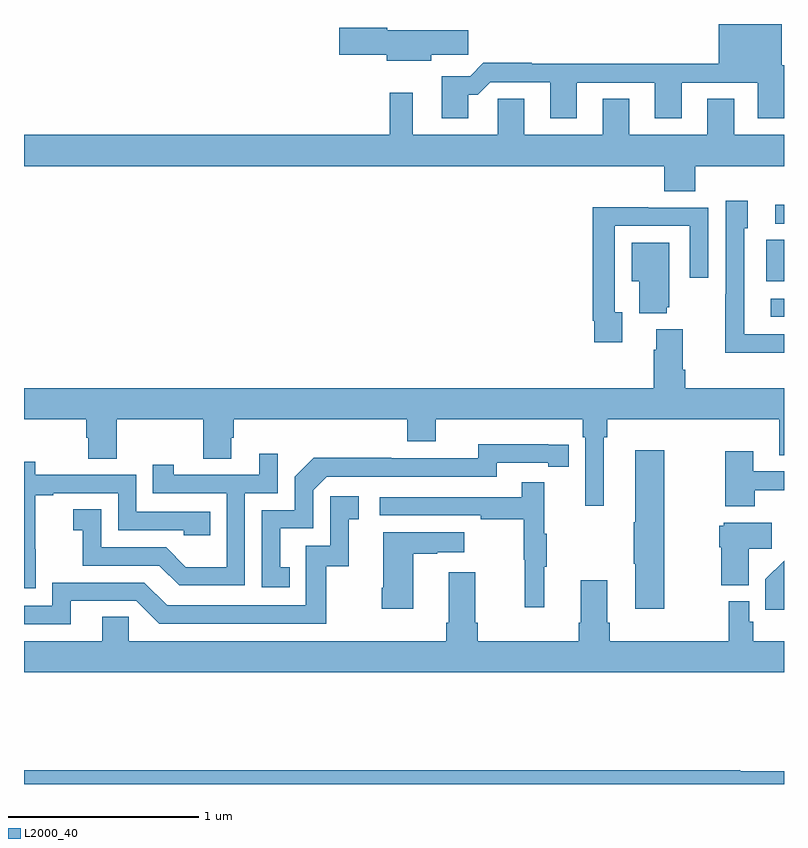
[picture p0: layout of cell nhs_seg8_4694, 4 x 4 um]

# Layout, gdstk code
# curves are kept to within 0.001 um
import gdstk
lib = gdstk.Library(unit=1e-6, precision=1e-09)
def R(c, l, rs):  # rectangles x0, y0, x1, y1
    for r in rs: c.add(gdstk.rectangle(r[:2], r[2:], *l))
def P(c, l, *ps):  # polygons
    for p in ps: c.add(gdstk.Polygon(p, *l))
L2000_40 = (2000, 40)

nhs_seg8_4694 = lib.new_cell('nhs_seg8_4694')
R(nhs_seg8_4694, L2000_40, [(398.931,1130.358,399,1130.454), (398.906,1130.546,399,1130.765), (398.955,1130.85,399,1130.948)])
P(nhs_seg8_4694, L2000_40, [(397.339,1131.527),(397.388,1131.527),(397.455,1131.594),(397.769,1131.594),(397.769,1131.405),(397.909,1131.405),(397.909,1131.591),(398.321,1131.591),(398.321,1131.405),(398.461,1131.405),(398.461,1131.591),(398.861,1131.591),(398.861,1131.405),(399,1131.405),(399,1131.684),(398.989,1131.684),(398.989,1131.9),(398.657,1131.9),(398.657,1131.692),(397.673,1131.692),(397.673,1131.695),(397.418,1131.695),(397.348,1131.625),(397.199,1131.625),(397.199,1131.405),(397.339,1131.405)],
  [(397.144,1131.739),(397.339,1131.739),(397.339,1131.868),(396.912,1131.868),(396.912,1131.881),(396.66,1131.881),(396.66,1131.739),(396.908,1131.739),(396.908,1131.707),(397.144,1131.707)],
  [(398.534,1131.152),(399,1131.152),(399,1131.316),(398.737,1131.316),(398.737,1131.506),(398.597,1131.506),(398.597,1131.316),(398.185,1131.316),(398.185,1131.506),(398.045,1131.506),(398.045,1131.316),(397.633,1131.316),(397.633,1131.506),(397.494,1131.506),(397.494,1131.316),(397.045,1131.316),(397.045,1131.538),(396.924,1131.538),(396.924,1131.316),(395,1131.316),(395,1131.152),(398.369,1131.152),(398.369,1131.019),(398.534,1131.019)],
  [(399,1130.268),(398.79,1130.268),(398.79,1130.826),(398.809,1130.826),(398.809,1130.971),(398.694,1130.971),(398.694,1130.477),(398.692,1130.477),(398.692,1130.171),(399,1130.171)],
  [(398.149,1130.382),(398.109,1130.382),(398.109,1130.838),(398.505,1130.838),(398.505,1130.565),(398.601,1130.565),(398.601,1130.934),(398.285,1130.934),(398.285,1130.936),(397.993,1130.936),(397.993,1130.338),(398.001,1130.338),(398.001,1130.226),(398.149,1130.226)],
  [(398.384,1130.409),(398.395,1130.409),(398.395,1130.749),(398.198,1130.749),(398.198,1130.546),(398.237,1130.546),(398.237,1130.378),(398.384,1130.378)],
  [(395,1129.82),(395.327,1129.82),(395.327,1129.722),(395.339,1129.722),(395.339,1129.612),(395.487,1129.612),(395.487,1129.82),(395.944,1129.82),(395.944,1129.612),(396.091,1129.612),(396.091,1129.722),(396.104,1129.722),(396.104,1129.82),(397.016,1129.82),(397.016,1129.703),(397.168,1129.703),(397.168,1129.82),(397.94,1129.82),(397.94,1129.724),(397.953,1129.724),(397.953,1129.365),(398.05,1129.365),(398.05,1129.724),(398.069,1129.724),(398.069,1129.82),(398.975,1129.82),(398.975,1129.63),(399,1129.63),(399,1129.984),(398.48,1129.984),(398.48,1130.08),(398.467,1130.08),(398.467,1130.293),(398.327,1130.293),(398.327,1130.186),(398.315,1130.186),(398.315,1129.984),(395,1129.984)],
  [(396.398,1129.041),(396.349,1129.041),(396.349,1129.245),(396.522,1129.245),(396.522,1129.446),(396.594,1129.518),(397.488,1129.518),(397.488,1129.59),(397.76,1129.59),(397.76,1129.57),(397.868,1129.57),(397.868,1129.686),(397.392,1129.687),(397.392,1129.614),(396.932,1129.614),(396.932,1129.616),(396.524,1129.616),(396.426,1129.518),(396.426,1129.341),(396.252,1129.341),(396.252,1128.936),(396.398,1128.936)],
  [(398.37,1129.657),(398.216,1129.657),(398.216,1129.277),(398.209,1129.277),(398.209,1129.06),(398.216,1129.06),(398.216,1128.822),(398.37,1128.822)],
  [(398.847,1129.446),(399,1129.446),(399,1129.545),(398.839,1129.545),(398.839,1129.651),(398.692,1129.651),(398.692,1129.361),(398.847,1129.361)],
  [(396.162,1129.431),(396.336,1129.431),(396.336,1129.639),(396.239,1129.639),(396.239,1129.527),(395.788,1129.527),(395.788,1129.579),(395.677,1129.579),(395.677,1129.431),(396.066,1129.431),(396.066,1129.042),(395.852,1129.042),(395.748,1129.146),(395.406,1129.146),(395.406,1129.345),(395.259,1129.345),(395.259,1129.235),(395.308,1129.235),(395.308,1129.05),(395.711,1129.05),(395.816,1128.945),(396.162,1128.945)],
  [(395.061,1129.135),(395.06,1129.135),(395.06,1129.419),(395.155,1129.419),(395.155,1129.431),(395.496,1129.431),(395.496,1129.236),(395.841,1129.236),(395.841,1129.209),(395.981,1129.209),(395.981,1129.332),(395.592,1129.332),(395.592,1129.527),(395.058,1129.527),(395.058,1129.596),(395,1129.596),(395,1128.929),(395.061,1128.929)],
  [(397.739,1129.043),(397.75,1129.043),(397.75,1129.217),(397.739,1129.217),(397.739,1129.489),(397.621,1129.489),(397.621,1129.41),(396.873,1129.41),(396.873,1129.314),(397.405,1129.314),(397.405,1129.294),(397.629,1129.294),(397.629,1129.08),(397.636,1129.08),(397.636,1128.831),(397.739,1128.831)],
  [(395.245,1128.864),(395.592,1128.864),(395.712,1128.744),(396.592,1128.744),(396.592,1129.047),(396.71,1129.047),(396.71,1129.293),(396.763,1129.293),(396.763,1129.414),(396.612,1129.414),(396.612,1129.155),(396.483,1129.155),(396.483,1128.84),(395.754,1128.84),(395.634,1128.96),(395.148,1128.96),(395.148,1128.837),(395,1128.837),(395,1128.741),(395.245,1128.741)],
  [(398.815,1129.138),(398.936,1129.138),(398.936,1129.276),(398.682,1129.276),(398.682,1129.26),(398.659,1129.26),(398.659,1129.146),(398.671,1129.146),(398.671,1128.947),(398.815,1128.947)],
  [(397.048,1129.111),(397.175,1129.111),(397.175,1129.121),(397.318,1129.121),(397.318,1129.225),(396.89,1129.225),(396.89,1128.934),(396.883,1128.934),(396.883,1128.822),(397.048,1128.822)],
  [(399,1129.076),(398.902,1128.978),(398.902,1128.816),(399,1128.816)],
  [(399,1128.652),(398.837,1128.652),(398.837,1128.753),(398.817,1128.753),(398.817,1128.862),(398.709,1128.862),(398.709,1128.652),(398.084,1128.652),(398.084,1128.748),(398.071,1128.748),(398.071,1128.973),(397.931,1128.973),(397.931,1128.748),(397.919,1128.748),(397.919,1128.652),(397.388,1128.652),(397.388,1128.748),(397.375,1128.748),(397.375,1129.015),(397.235,1129.015),(397.235,1128.748),(397.223,1128.748),(397.223,1128.652),(395.55,1128.652),(395.55,1128.779),(395.411,1128.779),(395.411,1128.652),(395,1128.652),(395,1128.488),(399,1128.488)],
  [(399,1127.966),(398.77,1127.966),(398.77,1127.972),(395,1127.972),(395,1127.9),(399,1127.9)])

lib.write_gds('nhs_seg8_4694.gds')
